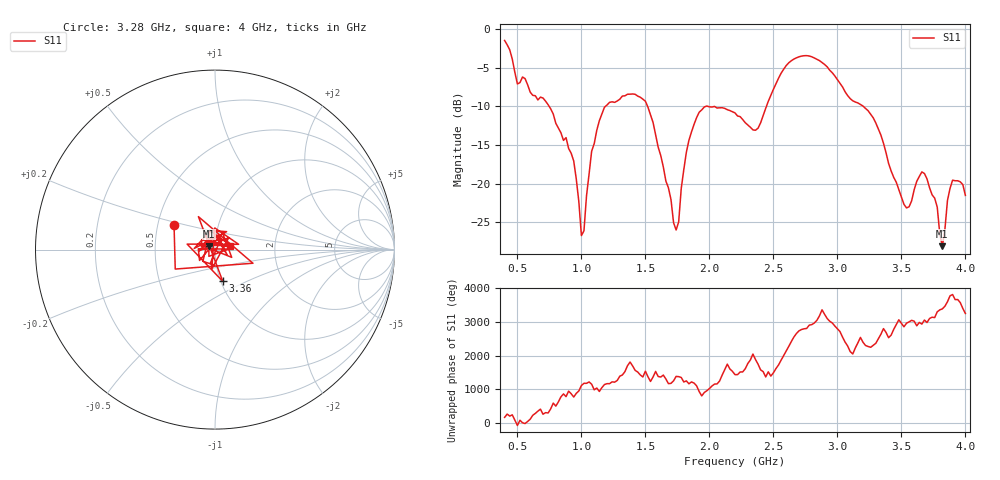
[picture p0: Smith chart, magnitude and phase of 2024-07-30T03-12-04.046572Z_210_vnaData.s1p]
!Created with skrf (http://scikit-rf.org).
# Hz S RI R 50.0
!freq ReS11 ImS11
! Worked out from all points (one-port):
!   181 points, 400 MHz to 4 GHz, reference 50 ohm
!   lowest |S11| = -28.1 dB at 3.82 GHz (marker M1), VSWR 1.08, Z = 46.7 + j1.87 ohm
!   |S11| at or under -10 dB: 1.517 GHz to 1.975 GHz (458.6 MHz wide, 26.3 % of centre); 1.985 GHz to 2.446 GHz (460.6 MHz wide, 20.8 % of centre); 3.201 GHz to end of sweep (the widest 3 of 4)
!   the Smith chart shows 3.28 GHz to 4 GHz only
!   S11 on the Smith chart (normalised r, x): 3.28 GHz: 0.61, +0.18; 3.36 GHz: 1.02, -0.37; 4 GHz: 1.18, +0.04
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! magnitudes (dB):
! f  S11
! 400 MHz  -1.5
! 500 MHz  -7.1
! 720 MHz  -9.3
! 860 MHz  -14.4
! 940 MHz  -17.1
! 1 GHz  -26.7
! 1.02 GHz  -26.1
! 1.08 GHz  -15.8
! 1.14 GHz  -11.9
! 1.3 GHz  -9.1
! 1.5 GHz  -9.4
! 1.72 GHz  -25.1
! 1.76 GHz  -24.9
! 1.82 GHz  -16.0
! 1.92 GHz  -10.8
! 2.2 GHz  -10.9
! 2.38 GHz  -12.8
! 2.66 GHz  -3.9
! 2.86 GHz  -4.1
! 3.1 GHz  -9.0
! 3.28 GHz  -11.5
! 3.36 GHz  -14.8
! 3.56 GHz  -23.0
! 3.68 GHz  -18.7
! 3.78 GHz  -23.0
! 3.82 GHz  -28.1
! 3.9 GHz  -19.6
! 4 GHz  -21.5
